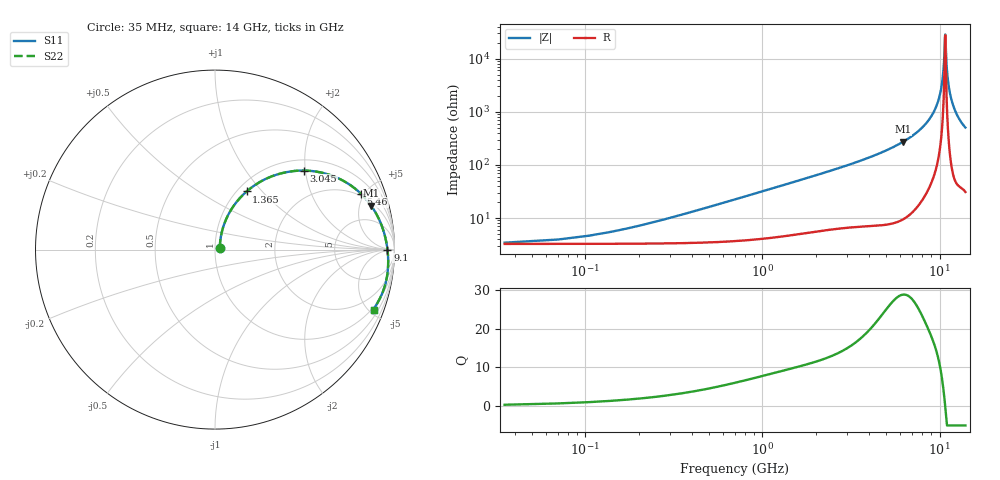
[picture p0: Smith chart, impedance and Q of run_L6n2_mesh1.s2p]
#  Hz  S  RI  R  50
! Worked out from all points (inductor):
!   400 points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, 35 MHz to 14 GHz, reference 50 ohm
!   read as one part in series: L = 5.02 nH near 350 MHz
!   highest Q = 28.7 at 6.23 GHz (marker M1), where L = 6.95 nH
!   self-resonance near 10.74 GHz
!   S11 on the Smith chart (normalised r, x): 35 MHz: 1.05, +0.02; 1.365 GHz: 1.10, +0.83; 3.045 GHz: 1.25, +1.96; 5.46 GHz: 1.84, +4.73; 9.1 GHz: 50, -1; 14 GHz: 0.86, -5.33
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3.5e7  0.0266 0.01  0.9632 -0.0108  0.9632 -0.0108  0.0266 0.01
2.45e8  0.0323 0.0696  0.9572 -0.0749  0.9572 -0.0749  0.0323 0.0696
4.9e8  0.0493 0.1365  0.9393 -0.1467  0.9393 -0.1467  0.0493 0.1364
1.365e9  0.1764 0.3242  0.8064 -0.349  0.8064 -0.349  0.1764 0.3241
2.38e9  0.3721 0.4258  0.605 -0.4618  0.605 -0.4618  0.3719 0.4258
3.045e9  0.4947 0.4403  0.4804 -0.4825  0.4804 -0.4825  0.4946 0.4403
4.69e9  0.7354 0.3715  0.2379 -0.4307  0.2379 -0.4307  0.7353 0.3715
5.46e9  0.8133 0.3112  0.1594 -0.3791  0.1594 -0.3791  0.8132 0.3111
6.23e9  0.8706 0.2442  0.1011 -0.3211  0.1011 -0.3211  0.8705 0.2441
7.035e9  0.9122 0.1726  0.0582 -0.2588  0.0582 -0.2588  0.9121 0.1726
9.1e9  0.961 -0.000484  0.00629 -0.1093  0.00629 -0.1093  0.9609 -0.000495
9.345e9  0.963 -0.0199  0.00398 -0.0927  0.00398 -0.0927  0.9629 -0.0199
9.94e9  0.965 -0.0662  0.00107 -0.0534  0.00107 -0.0534  0.9649 -0.0662
1.0325e10  0.9643 -0.0957  0.00118 -0.0285  0.00118 -0.0285  0.9642 -0.0957
1.057e10  0.963 -0.1142  0.00208 -0.0128  0.00208 -0.0128  0.9629 -0.1142
1.0745e10  0.9616 -0.1274  0.00313 -0.00179  0.00313 -0.00179  0.9616 -0.1274
1.078e10  0.9613 -0.13  0.00338 0.00041  0.00338 0.00041  0.9613 -0.13
1.092e10  0.9599 -0.1404  0.00451 0.00915  0.00451 0.00915  0.9599 -0.1404
1.1095e10  0.9579 -0.1534  0.00623 0.02  0.00623 0.02  0.9578 -0.1534
1.169e10  0.9482 -0.1963  0.0146 0.0557  0.0146 0.0557  0.9481 -0.1963
1.2635e10  0.925 -0.2592  0.0355 0.1074  0.0355 0.1074  0.9249 -0.2592
1.4e10  0.8832 -0.3344  0.0741 0.1672  0.0741 0.1672  0.8832 -0.3343
